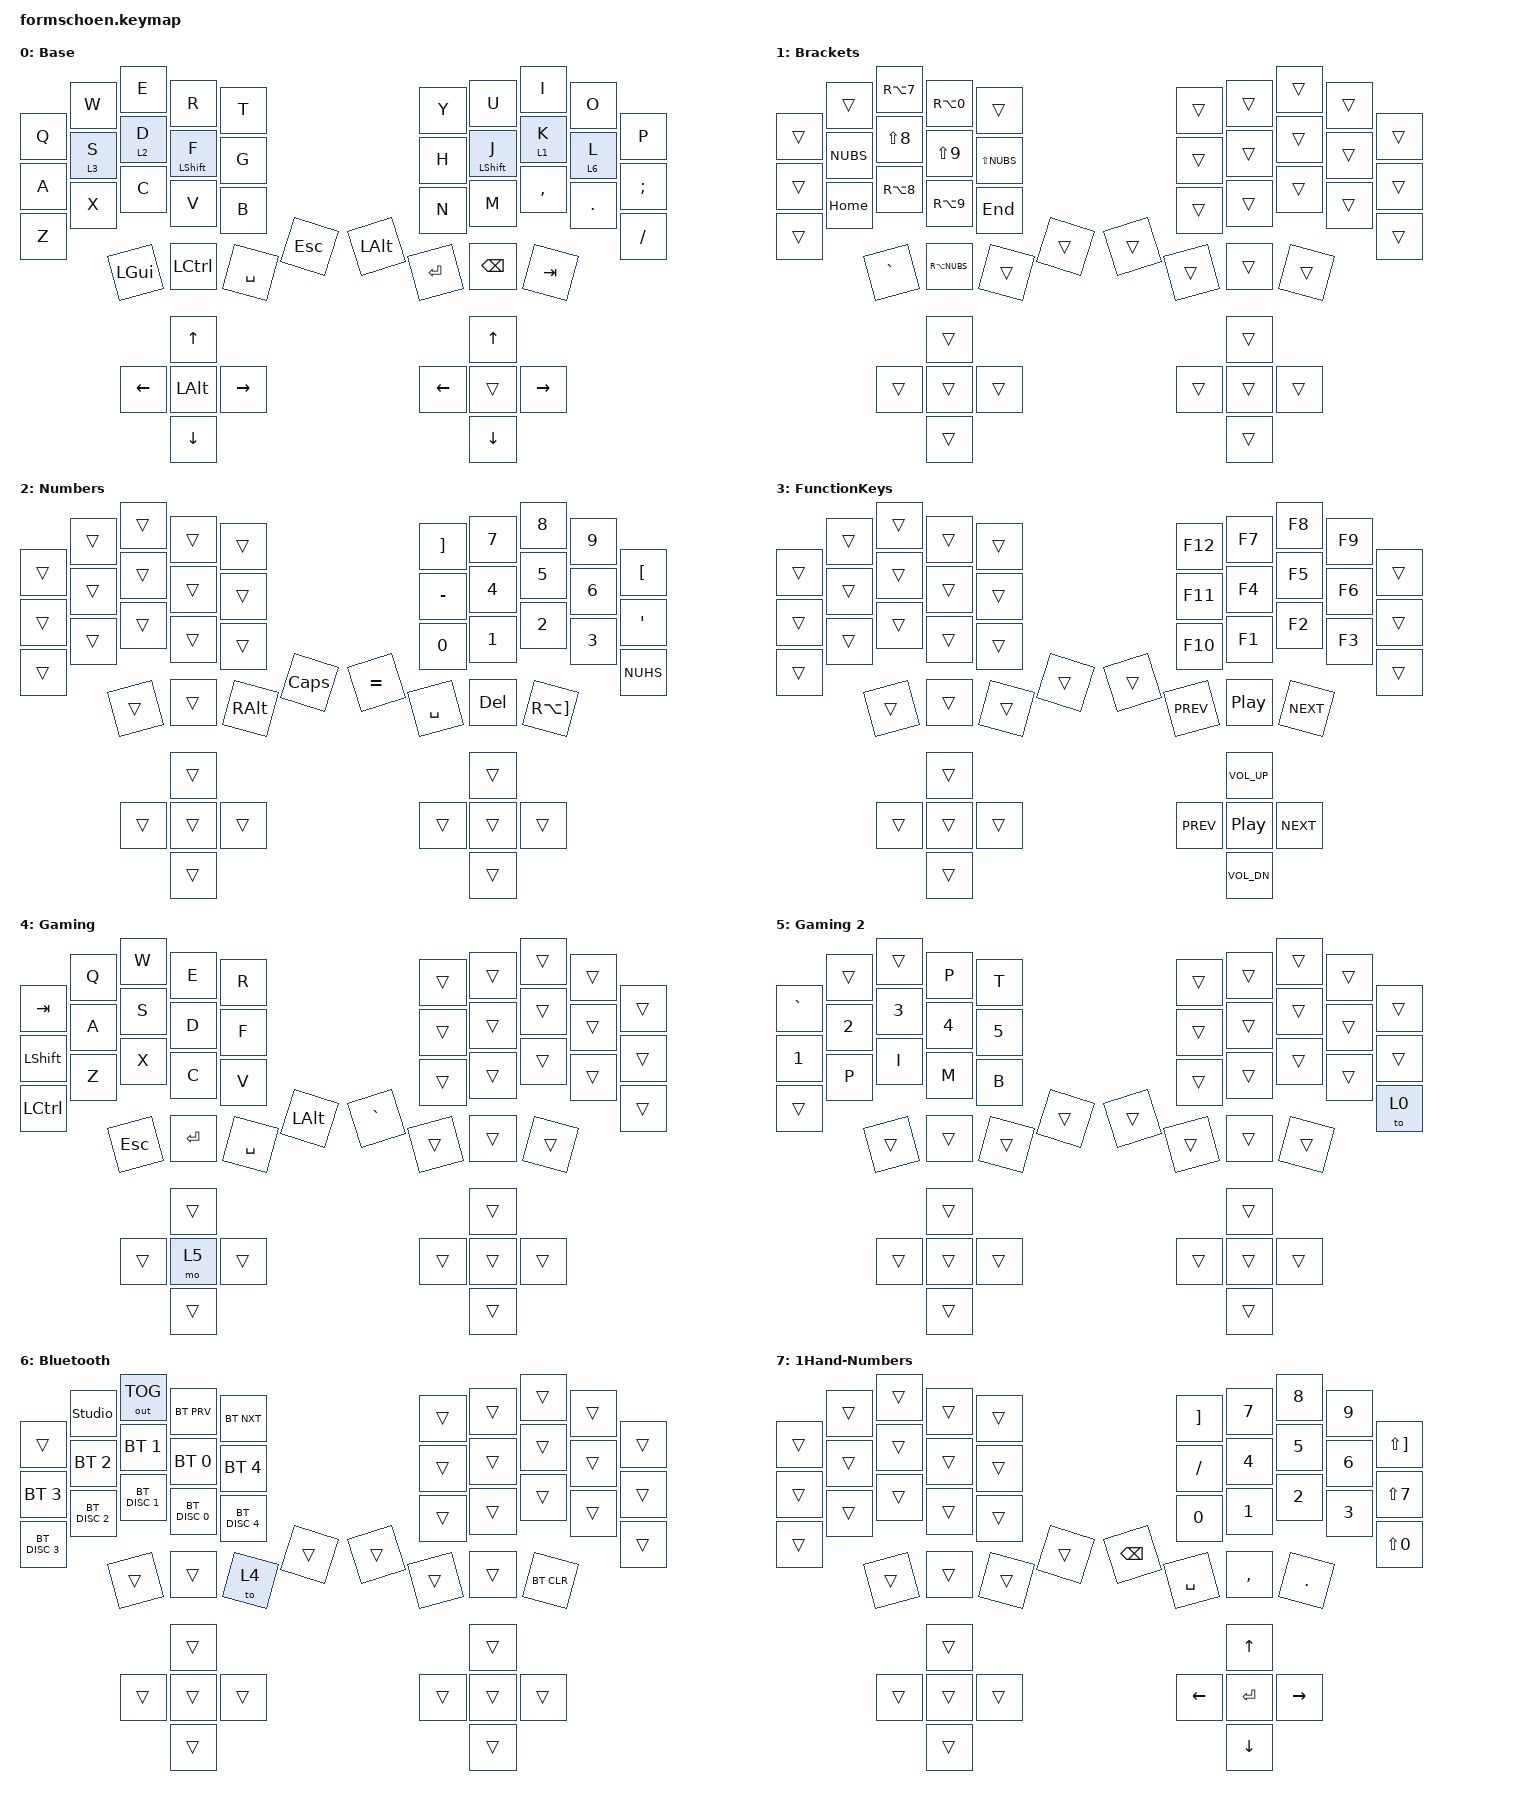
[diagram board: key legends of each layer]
/*
 * Copyright (c) 2020 The ZMK Contributors
 *
 * SPDX-License-Identifier: MIT
 */

#include <behaviors.dtsi>
#include <dt-bindings/zmk/behaviors.h>
#include <dt-bindings/zmk/keys.h>
#include <dt-bindings/zmk/bt.h>
#include <dt-bindings/zmk/outputs.h>

/ {
    
        behaviors {
                mt: mod_tap {
                        compatible = "zmk,behavior-hold-tap";
                        #binding-cells = <2>;
                        flavor = "tap-preferred";
                        tapping-term-ms = <180>;
                        //require-prior-idle-ms = <80>;
                        bindings = <&kp>, <&kp>;
                        display-name = "Mod-Tap";
                        quick-tap-ms = <150>;
                };
                lt: layer_tap {
                        compatible = "zmk,behavior-hold-tap";
                        #binding-cells = <2>;
                        flavor = "tap-preferred";
                        tapping-term-ms = <180>;
                        //require-prior-idle-ms = <80>;
                        bindings = <&mo>, <&kp>;
                        display-name = "Layer-Tap";
                        quick-tap-ms = <150>;
                };
        };
        
        combos {
                compatible = "zmk,combos";
                combo_number_layer {
                        timeout-ms = <50>;
                        key-positions = <20 22>;
                        bindings = <&tog 7>;
                };
        };
    
        keymap {
                compatible = "zmk,keymap";

                default_layer {
                        display-name = "Base";
                        bindings = <
   &kp Q &kp W    &kp E      &kp R         &kp T      &kp UP        &kp UP     &kp Y     &kp U          &kp I      &kp O     &kp P    
   &kp A &lt 3 S  &lt 2 D    &mt LSHIFT F  &kp G      &kp RIGHT     &kp RIGHT  &kp H     &mt LSHIFT J   &lt 1 K    &lt 6 L   &kp SEMI 
   &kp Z &kp X    &kp C      &kp V         &kp B      &kp DOWN      &kp DOWN   &kp N     &kp M          &kp COMMA  &kp DOT   &kp FSLH 
         &kp LGUI &kp LCTRL  &kp SPACE     &kp ESC    &kp LEFT      &kp LEFT   &kp LALT  &kp RET        &kp BSPC   &kp TAB
                                                      &kp LALT      &trans
                        >;
                };
                lower_layer {
                        display-name = "Brackets";
                        bindings = <
   &trans  &trans     &kp RA(N7)    &kp RA(N0)  &trans         &trans       &trans  &trans  &trans  &trans  &trans  &trans  
   &trans  &kp NUBS   &kp LS(N8)    &kp LS(N9)  &kp LS(NUBS)   &trans       &trans  &trans  &trans  &trans  &trans  &trans  
   &trans  &kp HOME   &kp RA(N8)    &kp RA(N9)  &kp END        &trans       &trans  &trans  &trans  &trans  &trans  &trans  
           &kp GRAVE  &kp RA(NUBS)  &trans      &trans         &trans       &trans  &trans  &trans  &trans  &trans    
                                                               &trans       &trans
                        >;
                };

                raise_layer {
                        display-name = "Numbers";
                        bindings = <
   &trans  &trans  &trans  &trans    &trans     &trans       &trans  &kp RBKT   &kp N7     &kp N8   &kp N9        &kp LBKT  
   &trans  &trans  &trans  &trans    &trans     &trans       &trans  &kp MINUS  &kp N4     &kp N5   &kp N6        &kp APOS  
   &trans  &trans  &trans  &trans    &trans     &trans       &trans  &kp N0     &kp N1     &kp N2   &kp N3        &kp NUHS  
           &trans  &trans  &kp RALT  &kp CAPS   &trans       &trans  &kp EQUAL  &kp SPACE  &kp DEL  &kp RA(RBKT)    
                                                &trans       &trans
                        >;
                };
                
                function_layer {
                        display-name = "FunctionKeys";
                        bindings = <
   &trans  &trans  &trans  &trans  &trans  &trans       &kp C_VOL_UP  &kp F12  &kp F7      &kp F8    &kp F9      &trans  
   &trans  &trans  &trans  &trans  &trans  &trans       &kp C_NEXT    &kp F11  &kp F4      &kp F5    &kp F6      &trans  
   &trans  &trans  &trans  &trans  &trans  &trans       &kp C_VOL_DN  &kp F10  &kp F1      &kp F2    &kp F3      &trans  
           &trans  &trans  &trans  &trans  &trans       &kp C_PREV    &trans   &kp C_PREV  &kp C_PP  &kp C_NEXT    
                                           &trans       &kp C_PP
                        >;
                };
                
                gaming_layer {
                        display-name = "Gaming";
                        bindings = <
   &kp TAB      &kp Q    &kp W    &kp E      &kp R     &trans       &trans  &trans     &trans  &trans  &trans  &trans  
   &kp LSHIFT   &kp A    &kp S    &kp D      &kp F     &trans       &trans  &trans     &trans  &trans  &trans  &trans  
   &kp LCTRL    &kp Z    &kp X    &kp C      &kp V     &trans       &trans  &trans     &trans  &trans  &trans  &trans  
                &kp ESC  &kp RET  &kp SPACE  &kp LALT  &trans       &trans  &kp GRAVE  &trans  &trans  &trans    
                                                       &mo 5        &trans
                        >;
                };
                
                gaming2_layer {
                        display-name = "Gaming 2";
                        bindings = <
   &kp GRAVE  &trans  &trans  &kp P   &kp T   &trans       &trans  &trans  &trans  &trans  &trans  &trans  
   &kp N1     &kp N2  &kp N3  &kp N4  &kp N5  &trans       &trans  &trans  &trans  &trans  &trans  &trans  
   &trans     &kp P   &kp I   &kp M   &kp B   &trans       &trans  &trans  &trans  &trans  &trans  &to 0  
              &trans  &trans  &trans  &trans  &trans       &trans  &trans  &trans  &trans  &trans    
                                              &trans       &trans
                        >;
                };
                
                bluetooth_layer {
                        display-name = "Bluetooth";
                        bindings = <
   &trans         &studio_unlock  &out OUT_TOG   &bt BT_PRV     &bt BT_NXT     &trans       &trans  &trans  &trans  &trans  &trans      &trans  
   &bt BT_SEL 3   &bt BT_SEL 2    &bt BT_SEL 1   &bt BT_SEL 0   &bt BT_SEL 4   &trans       &trans  &trans  &trans  &trans  &trans      &trans  
   &bt BT_DISC 3  &bt BT_DISC 2   &bt BT_DISC 1  &bt BT_DISC 0  &bt BT_DISC 4  &trans       &trans  &trans  &trans  &trans  &trans      &trans  
                  &trans          &trans         &to 4          &trans         &trans       &trans  &trans  &trans  &trans  &bt BT_CLR    
                                                                               &trans       &trans
                        >;
                };
                
                one_hand_numbers {
                        display-name = "1Hand-Numbers";
                        bindings = <
   &trans  &trans  &trans  &trans    &trans   &trans       &kp UP      &kp RBKT   &kp N7     &kp N8     &kp N9     &kp LS(RBKT)  
   &trans  &trans  &trans  &trans    &trans   &trans       &kp RIGHT   &kp FSLH   &kp N4     &kp N5     &kp N6     &kp LS(N7)  
   &trans  &trans  &trans  &trans    &trans   &trans       &kp DOWN    &kp N0     &kp N1     &kp N2     &kp N3     &kp LS(N0)  
           &trans  &trans  &trans    &trans   &trans       &kp LEFT    &kp BSPC   &kp SPACE  &kp COMMA  &kp DOT    
                                              &trans       &kp RET
                        >;
                };
        };
};
